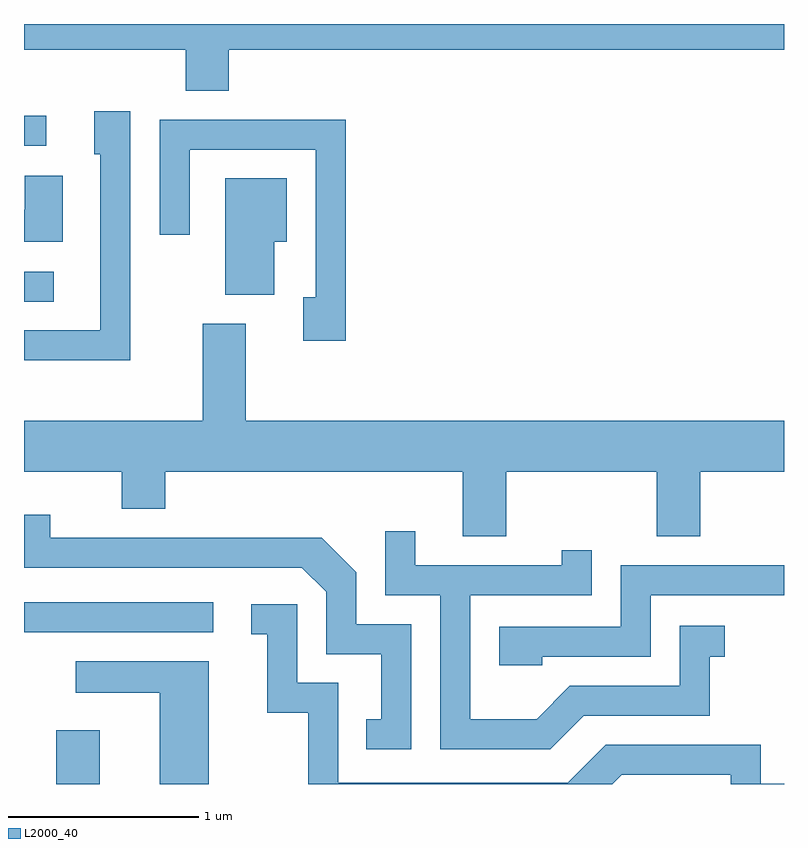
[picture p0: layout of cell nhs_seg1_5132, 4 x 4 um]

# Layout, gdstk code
import gdstk
lib = gdstk.Library(unit=1e-6, precision=1e-09)
def R(c, l, rs):  # rectangles x0, y0, x1, y1
    for r in rs: c.add(gdstk.rectangle(r[:2], r[2:], *l))
def P(c, l, *ps):  # polygons
    for p in ps: c.add(gdstk.Polygon(p, *l))
L2000_40 = (2000, 40)

nhs_seg1_5132 = lib.new_cell('nhs_seg1_5132')
R(nhs_seg1_5132, L2000_40, [(339.781,895.712,340.009,895.994), (339.611,896.511,340.608,896.669), (339.611,898.251,339.768,898.409), (339.611,899.071,339.728,899.229)])
P(nhs_seg1_5132, L2000_40, [(340.689,899.576),(343.611,899.576),(343.611,899.712),(339.611,899.712),(339.611,899.576),(340.461,899.576),(340.461,899.361),(340.689,899.361)],
  [(340.169,899.254),(339.981,899.254),(339.981,899.026),(340.011,899.026),(340.011,898.099),(339.611,898.099),(339.611,897.941),(340.169,897.941)],
  [(341.304,899.209),(340.326,899.209),(340.326,898.603),(340.484,898.603),(340.484,899.051),(341.146,899.051),(341.146,898.274),(341.081,898.274),(341.081,898.046),(341.304,898.046)],
  [(339.814,898.914),(339.616,898.914),(339.616,898.734),(339.611,898.734),(339.611,898.566),(339.814,898.566)],
  [(340.929,898.566),(340.994,898.566),(340.994,898.899),(340.671,898.899),(340.671,898.286),(340.929,898.286)],
  [(342.149,897.356),(342.941,897.356),(342.941,897.016),(343.169,897.016),(343.169,897.356),(343.611,897.356),(343.611,897.624),(340.779,897.624),(340.779,898.134),(340.551,898.134),(340.551,897.624),(339.611,897.624),(339.611,897.356),(340.126,897.356),(340.126,897.161),(340.354,897.161),(340.354,897.356),(341.921,897.356),(341.921,897.016),(342.149,897.016)],
  [(341.649,896.554),(341.359,896.554),(341.359,896.827),(341.177,897.009),(339.749,897.009),(339.749,897.129),(339.611,897.129),(339.611,896.851),(341.074,896.851),(341.201,896.724),(341.201,896.396),(341.491,896.396),(341.491,896.054),(341.413,896.054),(341.413,895.896),(341.649,895.896)],
  [(342.557,896.071),(343.219,896.071),(343.219,896.381),(343.298,896.381),(343.298,896.544),(343.061,896.544),(343.061,896.229),(342.484,896.229),(342.309,896.054),(341.959,896.054),(341.959,896.706),(342.599,896.706),(342.599,896.943),(342.441,896.943),(342.441,896.864),(341.669,896.864),(341.669,897.043),(341.511,897.043),(341.511,896.706),(341.801,896.706),(341.801,895.896),(342.382,895.896)],
  [(342.339,896.381),(342.909,896.381),(342.909,896.706),(343.611,896.706),(343.611,896.864),(342.751,896.864),(342.751,896.539),(342.111,896.539),(342.111,896.336),(342.339,896.336)],
  [(342.757,895.761),(343.331,895.761),(343.331,895.712),(343.611,895.712),(343.611,895.714),(343.489,895.714),(343.489,895.919),(342.674,895.919),(342.474,895.719),(341.264,895.719),(341.264,896.244),(341.049,896.244),(341.049,896.659),(340.808,896.659),(340.808,896.501),(340.891,896.501),(340.891,896.086),(341.106,896.086),(341.106,895.712),(342.708,895.712)],
  [(340.584,896.359),(339.883,896.359),(339.883,896.191),(340.326,896.191),(340.326,895.712),(340.584,895.712)])

lib.write_gds('nhs_seg1_5132.gds')
